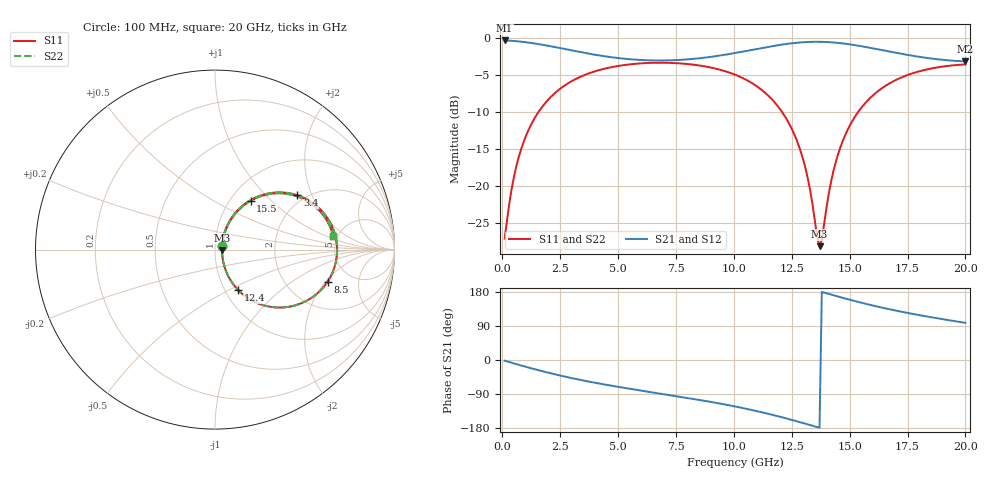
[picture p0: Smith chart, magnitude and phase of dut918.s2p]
! Touchstone file exported from HFSS 2026.1.0
!  File:  C:/ffzhzh/LocalFiles/Ansys_Project_Files/temp_train_TSV_RDL_918_1783278832_30076.aedt
!  Generated:  03:25:41 AM Jul  6, 2026
!  Design:  TSV_RDL
!  Project:  temp_train_TSV_RDL_918_1783278832_30076
! Variables:
!  h_bsmrdl = 3.21um
!  h_ox = 20um
!  h_rdl = 5um
!  h_sub = 69.43um
!  h_tmrdl = 2.95um
!  h_tsv = 69.43um
!  h_via = 3um
!  l_bsmrdl = 703um
!  l_sub = 4502.84um
!  l_tmrdl = 478.81um
!  m_sub = 200um
!  pitch = 47.96um
!  r_tsv = 3.74um
!  s_tmrdl = 10um
!  w_bsmrdl = 12.78um
!  w_sub = 500um
!  w_tmrdl = 13.42um
!  x_tsv_center1 = 485.52um
!  x_tsv_center2 = 1201.3um
!  x_tsv_center3 = 1693.53um
!  x_tsv_center4 = 2409.31um
!  x_tsv_center5 = 2901.54um
!  x_tsv_center6 = 3617.32um
# GHz S MA R 50.000000
! Terminal data exported
! Port[1] = TM_RDL1_1_T1
! Port[2] = TM_RDL5_1_T1
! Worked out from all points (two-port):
!   200 points, 100 MHz to 20 GHz, reference 50 ohm
!   highest |S21| = -0.34 dB at 100 MHz (marker M1); lowest = -3.2 dB at 20 GHz (marker M2)
!   |S21| within 3 dB of the highest: start of sweep to end of sweep
!   lowest |S11| = -28.1 dB at 13.7 GHz (marker M3), VSWR 1.08, Z = 54.1 - j0.245 ohm
!   |S11| at or under -10 dB: start of sweep to 1.564 GHz; 12.08 GHz to 15.37 GHz (3.285 GHz wide, 23.9 % of centre)
!   |S22| runs from -28.1 to -3.3 dB; largest |S21 - S12| = 1.6e-14
!   S11 on the Smith chart (normalised r, x): 100 MHz: 1.08, +0.05; 3.4 GHz: 1.81, +1.57; 8.5 GHz: 3.36, -2.09; 12.4 GHz: 1.15, -0.56; 15.5 GHz: 1.24, +0.76; 20 GHz: 4.58, +1.24
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0.1  0.04422 28.6  0.9616 -1.8  0.9616 -1.8  0.04422 28.6
! Gamma 0 0 0 0
! Port Impedance 50 0 50 0
0.6  0.1348 62.6  0.9511 -10.8  0.9511 -10.8  0.1348 62.6
1.2  0.2517 60.1  0.9274 -21.0  0.9274 -21.0  0.2517 60.1
2.1  0.4004 49.3  0.8779 -35.2  0.8779 -35.2  0.4004 49.3
3.4  0.5492 33.5  0.8008 -52.9  0.8008 -52.9  0.5492 33.5
3.5  0.5578 32.4  0.7954 -54.1  0.7954 -54.1  0.5578 32.4
5.1  0.6506 15.7  0.7287 -71.9  0.7287 -71.9  0.6506 15.8
6.8  0.6805 -0.1  0.7045 -88.5  0.7045 -88.5  0.6805 -0.1
8.5  0.6523 -15.9  0.7289 -105.2  0.7289 -105.2  0.6523 -15.9
10.1  0.561 -32.6  0.7936 -123.2  0.7936 -123.2  0.561 -32.6
11.4  0.4199 -48.2  0.8658 -140.7  0.8658 -140.7  0.4199 -48.2
12.4  0.2617 -60.1  0.9162 -156.4  0.9162 -156.4  0.2617 -60.1
13  0.1499 -63.3  0.9355 -166.5  0.9355 -166.5  0.1499 -63.3
13.4  0.07487 -53.6  0.9415 -173.5  0.9415 -173.5  0.07489 -53.6
13.7  0.03932 -3.3  0.9419 -178.7  0.9419 -178.7  0.03932 -3.3
13.8  0.04343 23.2  0.9412 179.5  0.9412 179.5  0.04342 23.2
14.2  0.1074 59.8  0.9347 172.6  0.9347 172.6  0.1074 59.8
14.5  0.1639 62.4  0.926 167.4  0.926 167.4  0.1638 62.4
15.5  0.337 53.9  0.8797 151.2  0.8797 151.2  0.337 53.9
16.7  0.4912 39.6  0.8104 134.2  0.8104 134.2  0.4912 39.6
18.4  0.6162 21.5  0.7305 114.2  0.7305 114.2  0.6161 21.5
20  0.6627 6.6  0.6943 98.0  0.6943 98.0  0.6627 6.6
